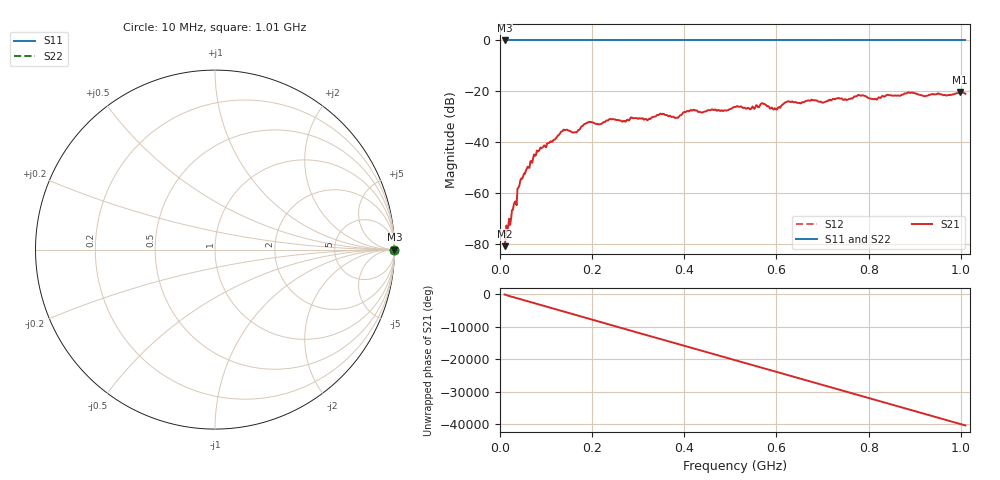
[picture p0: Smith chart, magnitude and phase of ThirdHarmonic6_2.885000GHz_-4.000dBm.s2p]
! 8/17/2025 7:55:28 AM
! C:\ANRITSUVNA\TEMP\TEMP.S2P
! CHANNEL.1
! TR.MEASUREMENT
! RAW.DATA
! RF.CORRECTION.OFF
! AVERAGING.OFF
! IF.BANDWIDTH: 5KHZ
! SWEEPTYPE:  FREQ.SWEEP(Linear)
! Reference Plane Port Info
! PORT:  PORT1  PORT2
! DISTANCE:  0  m  0  m
! TIME:  0  s  0  s
! PHASE.OFFSET:  0  deg.  0  deg.
! LOSS:  0  dB  0  dB
! REF.LOSS:  0  dB  0  dB
! REF.FREQ:  0  Hz  0  Hz
! Power Info
! POWER:  -20  dBm  -20  dBm
! EFF.POWER:  -20  dBm  -20  dBm
! SOURCE.ATTEN:  0  dB  0  dB
! TEST.ATTEN:  0  dB  0  dB
# GHZ S RI R 50.0
! FREQ.GHZ  S11RE  S11IM  S21RE  S21IM  S12RE  S12IM  S22RE  S22IM
!; PortSelection: Port_12
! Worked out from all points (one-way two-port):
!   501 points, 10 MHz to 1.01 GHz, reference 50 ohm
!   highest |S21| = -20.23 dB at 998 MHz (marker M1); lowest = -80.7 dB at 10 MHz (marker M2)
!   lowest |S11| = 0.0 dB at 10 MHz (marker M3)
!   |S11| at or under -10 dB: nowhere
!   |S22| runs from 0.0 to 0.0 dB; largest |S21 - S12| = 1.1
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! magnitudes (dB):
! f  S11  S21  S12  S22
! 10 MHz  0.0  -80.7  0.0  0.0
! 42 MHz  0.0  -57.0  0.0  0.0
! 76 MHz  0.0  -45.3  0.0  0.0
! 136 MHz  0.0  -35.5  0.0  0.0
! 162 MHz  0.0  -36.1  0.0  0.0
! 178 MHz  0.0  -33.6  0.0  0.0
! 194 MHz  0.0  -31.9  0.0  0.0
! 344 MHz  0.0  -29.3  0.0  0.0
! 384 MHz  0.0  -30.3  0.0  0.0
! 416 MHz  0.0  -27.5  0.0  0.0
! 510 MHz  0.0  -26.1  0.0  0.0
! 540 MHz  0.0  -26.5  0.0  0.0
! 570 MHz  0.0  -24.6  0.0  0.0
! 598 MHz  0.0  -26.7  0.0  0.0
! 624 MHz  0.0  -24.0  0.0  0.0
! 678 MHz  0.0  -23.4  0.0  0.0
! 702 MHz  0.0  -24.4  0.0  0.0
! 782 MHz  0.0  -21.6  0.0  0.0
! 814 MHz  0.0  -22.9  0.0  0.0
! 844 MHz  0.0  -21.5  0.0  0.0
! 998 MHz  0.0  -20.2  0.0  0.0
! 1.01 GHz  0.0  -20.9  0.0  0.0
